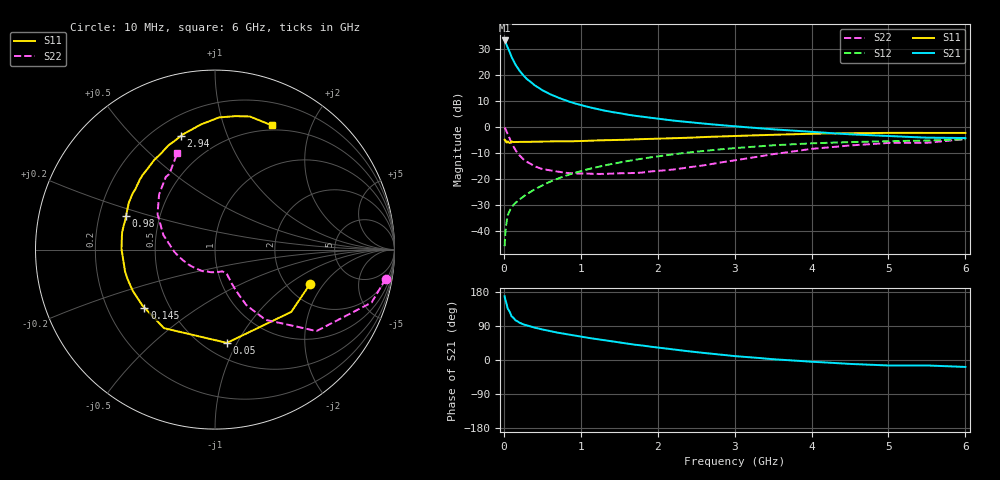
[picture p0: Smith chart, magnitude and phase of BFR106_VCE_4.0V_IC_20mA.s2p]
! Infineon Technologies  Discrete & RF Semiconductors
! BFR106
! VCE =  4.0 V,  IC =  20 mA
! Common Emitter S-Parameters:  Nov 2015
# GHz  S  MA  R  50
!  f  S11  S21  S12  S22
! GHz  MAG  ANG  MAG  ANG  MAG  ANG  MAG  ANG
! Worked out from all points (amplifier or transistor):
!   210 points, 10 MHz to 6 GHz, reference 50 ohm
!   highest |S21| = 33.1 dB at 10 MHz (marker M1)
!   |S21| within 3 dB of that: start of sweep to 55.23 MHz
!   unconditionally stable (mu >= 1): 374 MHz to 2.176 GHz
!   at 185 MHz: K = 0.77, MSG = 25.4 dB, |S12| = -28.4 dB
!   at 1.52 GHz: K = 1.06, MAG = 7.9 dB, |S12| = -13.6 dB
!   at 6 GHz: K = 1.00, MSG = 0.2 dB, |S12| = -4.8 dB
!   S11 on the Smith chart (normalised r, x): 10 MHz: 2.63, -1.49; 50 MHz: 0.64, -0.91; 145 MHz: 0.36, -0.32; 980 MHz: 0.32, +0.17; 2.94 GHz: 0.31, +0.69; 6 GHz: 0.44, +1.46
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0.01  0.5627 -20.1  45.32 168.3  0.0051 84.1  0.965 -9.7
0.02  0.5488 -39.2  43 158.7  0.0094 76.2  0.9207 -18.7
0.05  0.524 -82.7  33.42 135.5  0.0199 61.2  0.7253 -38.7
0.1  0.5219 -123.0  21.87 115.5  0.0287 53.0  0.4829 -54.2
0.145  0.509 -140.6  16.19 106.3  0.0338 53.2  0.3688 -59.7
0.15  0.5106 -142.6  15.6 104.9  0.0344 53.2  0.3564 -60.5
0.2  0.5125 -153.4  12.11 98.8  0.0395 55.6  0.2861 -62.1
0.26  0.5142 -162.2  9.46 93.5  0.0463 58.4  0.2331 -63.3
0.3  0.5158 -166.4  8.22 90.8  0.0509 60.6  0.2123 -63.8
0.4  0.5151 -174.8  6.252 85.3  0.0626 63.5  0.1744 -63.9
0.5  0.5209 179.6  5.029 80.5  0.0748 65.0  0.1541 -63.7
0.6  0.5226 174.0  4.223 76.2  0.0881 65.8  0.145 -65.2
0.8  0.5261 165.9  3.208 68.7  0.1139 66.0  0.1307 -70.2
0.98  0.5299 159.1  2.658 62.4  0.1375 65.2  0.127 -75.1
1.02  0.5323 157.7  2.563 61.1  0.1428 64.9  0.1268 -76.8
1.4  0.5554 145.9  1.922 49.5  0.1926 61.5  0.1263 -93.3
2.02  0.5892 128.7  1.412 32.4  0.2724 53.8  0.1429 -127.6
2.94  0.6602 106.9  1.038 11.6  0.3822 40.4  0.2191 -174.4
3.1  0.6717 103.8  0.993 8.8  0.3987 37.8  0.238 178.7
4.1  0.7388 86.9  0.779 -5.6  0.4852 22.3  0.3866 145.5
5.1  0.7648 74.1  0.653 -14.5  0.5319 8.8  0.4895 123.5
6  0.761 65.5  0.607 -18.3  0.5752 -1.5  0.5786 111.2
